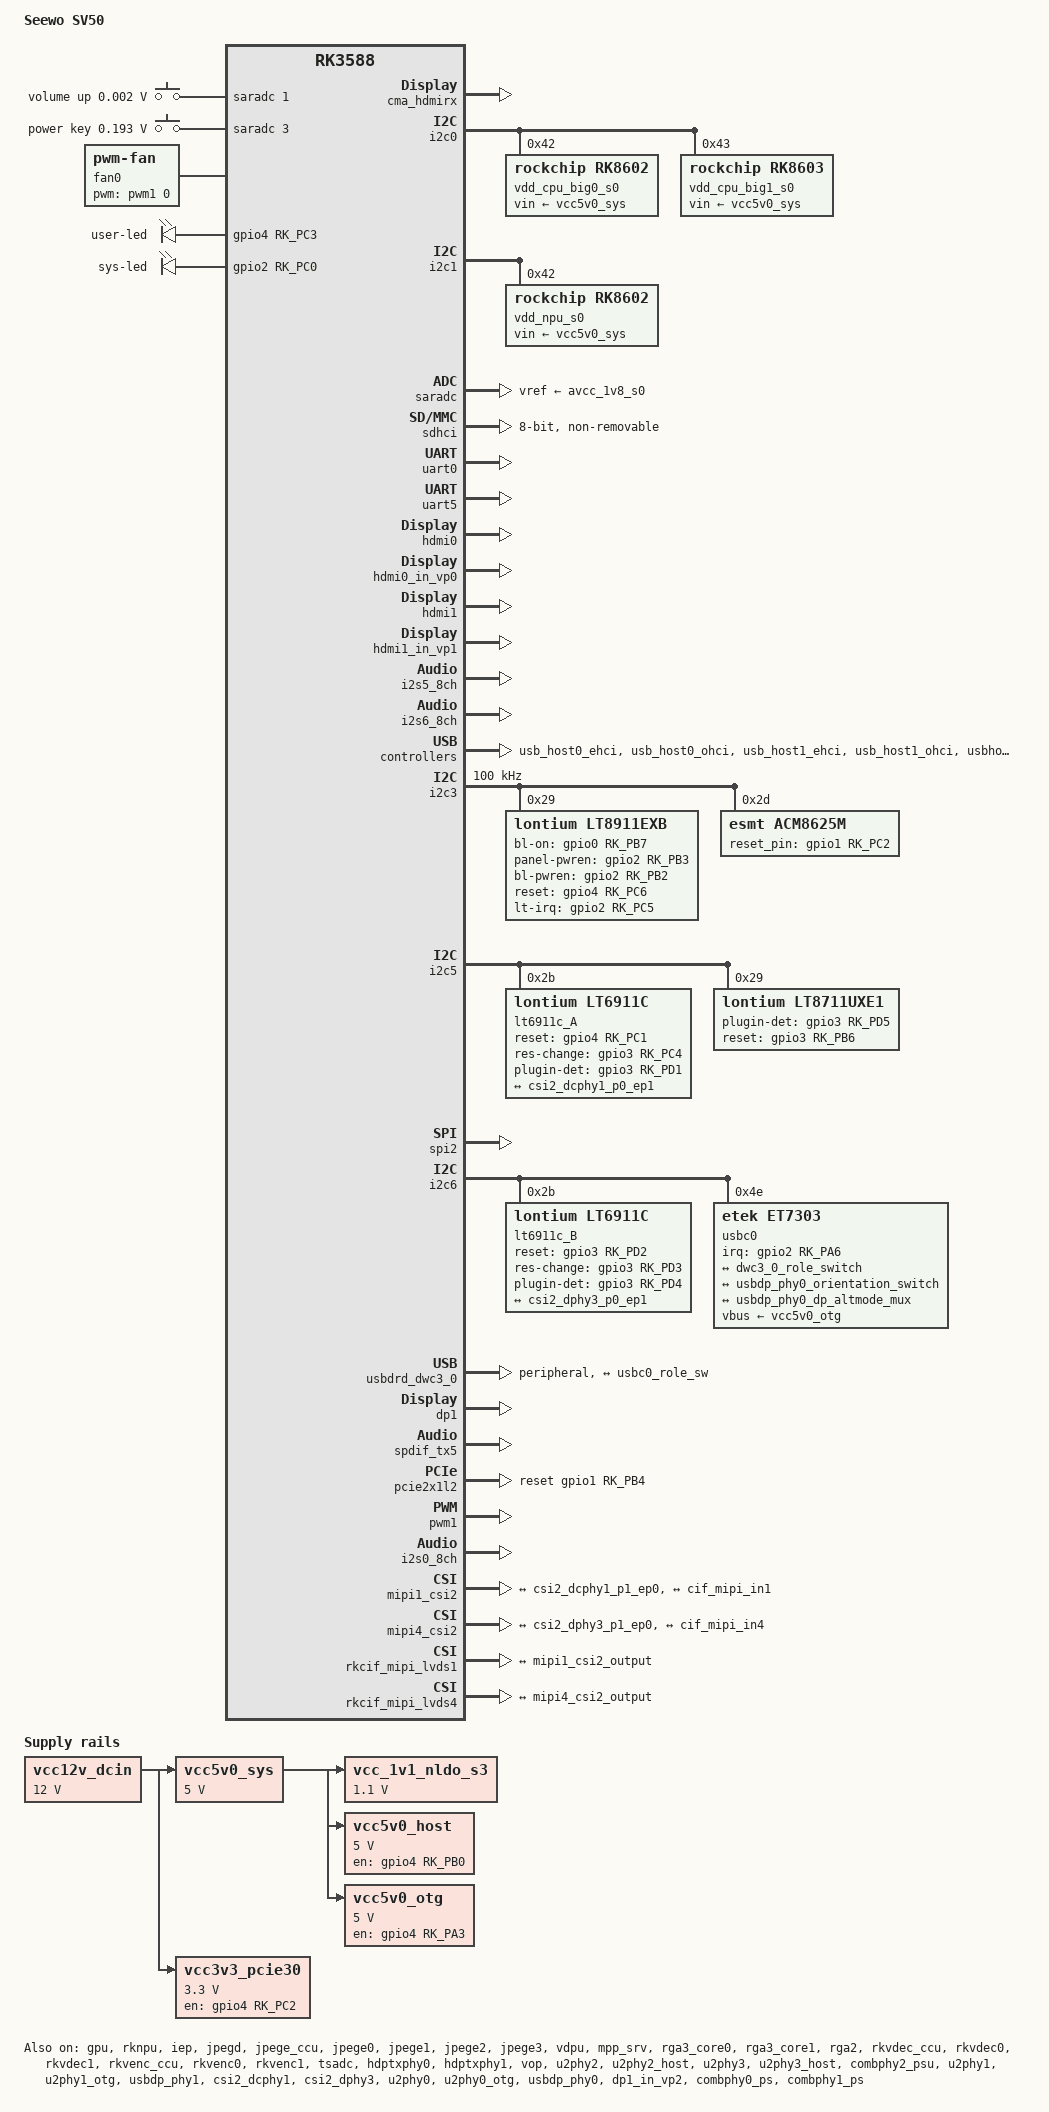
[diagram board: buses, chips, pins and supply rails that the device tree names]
// SPDX-License-Identifier: (GPL-2.0+ OR MIT)
/*
 * Copyright (c) 2024 Rockchip Electronics Co., Ltd.
 * Copyright (c) 2024 Radxa Computer (Shenzhen) Co., Ltd.
 * Copyright (c) 2026 ColtPlus
 */

/dts-v1/;

#include <dt-bindings/gpio/gpio.h>
#include <dt-bindings/leds/common.h>
#include <dt-bindings/pwm/pwm.h>
#include <dt-bindings/pinctrl/rockchip.h>
#include <dt-bindings/input/rk-input.h>
#include <dt-bindings/display/drm_mipi_dsi.h>
#include <dt-bindings/display/rockchip_vop.h>
#include <dt-bindings/sensor-dev.h>
#include "dt-bindings/usb/pd.h"
#include "rk3588.dtsi"
#include "rk3588-rk806-single.dtsi"
#include "rk3588-linux.dtsi"

/ {
	model = "Seewo SV50";
	compatible = "seewo,sv50", "rockchip,rk3588";

	/delete-node/ chosen;

	aliases {
		mmc0 = &sdmmc;
		mmc1 = &sdhci;
		mmc2 = &sdio;
	};

	adc_keys: adc-keys {
		compatible = "adc-keys";
		io-channels = <&saradc 1>;
		io-channel-names = "buttons";
		keyup-threshold-microvolt = <1800000>;
		poll-interval = <100>;

		vol-up-key {
			label = "volume up";
			linux,code = <KEY_VOLUMEUP>;
			press-threshold-microvolt = <1750>; 
		};
	};

	adc_power_keys: adc-power-keys {
		compatible = "adc-keys";
		io-channels = <&saradc 3>;
		io-channel-names = "buttons";
		keyup-threshold-microvolt = <1800000>;
		poll-interval = <100>;

		adc-power-key {
			label = "power key";
			linux,code = <KEY_POWER>;
			press-threshold-microvolt = <192920>;
			wakeup-source;
		};
	};

	fan0: pwm-fan {
		compatible = "pwm-fan";
		cooling-levels = <0 120 150 180 210 240 255>;
		pwms = <&pwm1 0 50000 0>;
		#cooling-cells = <2>;
	};

	vcc12v_dcin: vcc12v-dcin {
		compatible = "regulator-fixed";
		regulator-name = "vcc12v_dcin";
		regulator-always-on;
		regulator-boot-on;
		regulator-min-microvolt = <12000000>;
		regulator-max-microvolt = <12000000>;
	};

	vcc5v0_sys: vcc5v0-sys {
		compatible = "regulator-fixed";
		regulator-name = "vcc5v0_sys";
		regulator-always-on;
		regulator-boot-on;
		regulator-min-microvolt = <5000000>;
		regulator-max-microvolt = <5000000>;
		vin-supply = <&vcc12v_dcin>;
	};

	vcc_1v1_nldo_s3: regulator-vcc-1v1-nldo-s3 {
		compatible = "regulator-fixed";
		regulator-name = "vcc_1v1_nldo_s3";
		regulator-always-on;
		regulator-boot-on;
		regulator-min-microvolt = <1100000>;
		regulator-max-microvolt = <1100000>;
		vin-supply = <&vcc5v0_sys>;
	};

	hdmi0_sound: hdmi0-sound {
		status = "okay";
		compatible = "rockchip,hdmi";
		rockchip,mclk-fs = <128>;
		rockchip,card-name = "rockchip,hdmi0";
		rockchip,cpu = <&i2s5_8ch>;
		rockchip,codec = <&hdmi0>;
		rockchip,jack-det;
	};

	hdmi1_sound: hdmi1-sound {
		status = "okay";
		compatible = "rockchip,hdmi";
		rockchip,mclk-fs = <128>;
		rockchip,card-name = "rockchip,hdmi1";
		rockchip,cpu = <&i2s6_8ch>;
		rockchip,codec = <&hdmi1>;
		rockchip,jack-det;
	};

	dp1_sound: dp1-sound {
		status = "okay";
		compatible = "rockchip,hdmi";
		rockchip,card-name= "rockchip,dp1";
		rockchip,mclk-fs = <512>;
		rockchip,cpu = <&spdif_tx5>;
		rockchip,codec = <&dp1 1>;
		rockchip,jack-det;
	};

	acm8625m_sound: i2s0-sound {
		compatible = "simple-audio-card";
		simple-audio-card,format = "i2s";
		simple-audio-card,name = "rockchip,acm8625m";
		simple-audio-card,mclk-fs = <256>;

		simple-audio-card,cpu {
			sound-dai = <&i2s0_8ch>;
		};
		simple-audio-card,codec {
			sound-dai = <&acm8625m>;
		};
	};

	vcc3v3_pcie30: regulator-vcc3v3-pcie30 {
		compatible = "regulator-fixed";
		enable-active-high;
		gpios = <&gpio4 RK_PC2 GPIO_ACTIVE_HIGH>;
		pinctrl-names = "default";
		pinctrl-0 = <&pcie3_vcc3v3_en>;
		regulator-name = "vcc3v3_pcie30";
		regulator-min-microvolt = <3300000>;
		regulator-max-microvolt = <3300000>;
		startup-delay-us = <7500>;
		vin-supply = <&vcc12v_dcin>;
	};

	vcc5v0_host: vcc5v0-host-regulator {
		compatible = "regulator-fixed";
		regulator-name = "vcc5v0_host";
		regulator-boot-on;
		regulator-always-on;
		regulator-min-microvolt = <5000000>;
		regulator-max-microvolt = <5000000>;
		vin-supply = <&vcc5v0_sys>;
		enable-active-high;
		gpio = <&gpio4 RK_PB0 GPIO_ACTIVE_HIGH>;
		pinctrl-names = "default";
		pinctrl-0 = <&vcc5v0_host_en>;
	};

	vcc5v0_otg: vcc5v0-otg-regulator {
		compatible = "regulator-fixed";
		regulator-name = "vcc5v0_otg";
		regulator-min-microvolt = <5000000>;
		regulator-max-microvolt = <5000000>;
		enable-active-high;
		gpio = <&gpio4 RK_PA3 GPIO_ACTIVE_HIGH>;
		vin-supply = <&vcc5v0_sys>;
		pinctrl-names = "default";
		pinctrl-0 = <&vcc5v0_otg_en>;
	};

	reserved_memory: reserved-memory {
		#address-cells = <2>;
		#size-cells = <2>;
		ranges;

		cma {
			compatible = "shared-dma-pool";
			reusable;
			reg = <0x0 (256 * 0x100000) 0x0 (256 * 0x100000)>;
			linux,cma-default;
		};

		/* Reserved 128MB memory for hdmirx-controller@fdee0000
		 * disable the node if hdmirx is disabled
		 */
		cma_hdmirx: cma-hdmirx {
			compatible = "shared-dma-pool";
			reg = <0x0 (512 * 0x100000) 0x0 (128 * 0x100000)>;
			reusable;
		};
	};

	gpio-leds {
		compatible = "gpio-leds";
		pinctrl-names = "default";

		user-led {
			gpios = <&gpio4 RK_PC3 GPIO_ACTIVE_HIGH>;
			linux,default-trigger = "heartbeat";
			default-state = "on";
		};

		sys-led {
			gpios = <&gpio2 RK_PC0 GPIO_ACTIVE_HIGH>;
			linux,default-trigger = "boot";
		};
	};
};

&cpu_l0 {
	cpu-supply = <&vdd_cpu_lit_s0>;
	mem-supply = <&vdd_cpu_lit_mem_s0>;
};

&cpu_b0 {
	cpu-supply = <&vdd_cpu_big0_s0>;
	mem-supply = <&vdd_cpu_big0_mem_s0>;
};

&cpu_b2 {
	cpu-supply = <&vdd_cpu_big1_s0>;
	mem-supply = <&vdd_cpu_big1_mem_s0>;
};

&gpu {
	mali-supply = <&vdd_gpu_s0>;
	mem-supply = <&vdd_gpu_mem_s0>;
	upthreshold = <30>;
	downdifferential = <10>;
	status = "okay";
};

&rknpu {
	rknpu-supply = <&vdd_npu_s0>;
	mem-supply = <&vdd_npu_mem_s0>;
	status = "okay";
};

&rknpu_mmu {
	status = "okay";
};

&i2c0 {
	status = "okay";
	pinctrl-names = "default";
	pinctrl-0 = <&i2c0m2_xfer>;

	vdd_cpu_big0_s0: vdd_cpu_big0_mem_s0: rk8602@42 {
		compatible = "rockchip,rk8602";
		reg = <0x42>;
		vin-supply = <&vcc5v0_sys>;
		regulator-compatible = "rk860x-reg";
		regulator-name = "vdd_cpu_big0_s0";
		regulator-min-microvolt = <550000>;
		regulator-max-microvolt = <1050000>;
		regulator-ramp-delay = <2300>;
		rockchip,suspend-voltage-selector = <1>;
		regulator-boot-on;
		regulator-always-on;
		regulator-state-mem {
			regulator-off-in-suspend;
		};
	};

	vdd_cpu_big1_s0: vdd_cpu_big1_mem_s0: rk8603@43 {
		compatible = "rockchip,rk8603";
		reg = <0x43>;
		vin-supply = <&vcc5v0_sys>;
		regulator-compatible = "rk860x-reg";
		regulator-name = "vdd_cpu_big1_s0";
		regulator-min-microvolt = <550000>;
		regulator-max-microvolt = <1050000>;
		regulator-ramp-delay = <2300>;
		rockchip,suspend-voltage-selector = <1>;
		regulator-boot-on;
		regulator-always-on;
		regulator-state-mem {
			regulator-off-in-suspend;
		};
	};
};

&i2c1 {
	status = "okay";
	pinctrl-names = "default";
	pinctrl-0 = <&i2c1m2_xfer>;

	vdd_npu_s0: vdd_npu_mem_s0: rk8602@42 {
		compatible = "rockchip,rk8602";
		reg = <0x42>;
		vin-supply = <&vcc5v0_sys>;
		regulator-compatible = "rk860x-reg";
		regulator-name = "vdd_npu_s0";
		regulator-min-microvolt = <550000>;
		regulator-max-microvolt = <950000>;
		regulator-ramp-delay = <2300>;
		rockchip,suspend-voltage-selector = <1>;
		regulator-boot-on;
		regulator-always-on;
		regulator-state-mem {
			regulator-off-in-suspend;
		};
	};
};

&iep {
	status = "okay";
};

&iep_mmu {
	status = "okay";
};

&jpegd {
	status = "okay";
};

&jpegd_mmu {
	status = "okay";
};

&jpege_ccu {
	status = "okay";
};

&jpege0 {
	status = "okay";
};

&jpege0_mmu {
	status = "okay";
};

&jpege1 {
	status = "okay";
};

&jpege1_mmu {
	status = "okay";
};

&jpege2 {
	status = "okay";
};

&jpege2_mmu {
	status = "okay";
};

&jpege3 {
	status = "okay";
};

&jpege3_mmu {
	status = "okay";
};

&vdpu {
	status = "okay";
};

&vdpu_mmu {
	status = "okay";
};

&mpp_srv {
	status = "okay";
};

&rga3_core0 {
	status = "okay";
};

&rga3_0_mmu {
	status = "okay";
};

&rga3_core1 {
	status = "okay";
};

&rga3_1_mmu {
	status = "okay";
};

&rga2 {
	status = "okay";
};

&rkvdec_ccu {
	status = "okay";
};

&rkvdec0 {
	status = "okay";
};

&rkvdec0_mmu {
	status = "okay";
};

&rkvdec1 {
	status = "okay";
};

&rkvdec1_mmu {
	status = "okay";
};

&rkvenc_ccu {
	status = "okay";
};

&rkvenc0 {
	status = "okay";
};

&rkvenc0_mmu {
	status = "okay";
};

&rkvenc1 {
	status = "okay";
};

&rkvenc1_mmu {
	status = "okay";
};

&saradc {
	status = "okay";
	vref-supply = <&avcc_1v8_s0>;
};

&sdhci {
	bus-width = <8>;
	no-sdio;
	no-sd;
	non-removable;
	mmc-hs400-1_8v;
	mmc-hs400-enhanced-strobe;
	status = "okay";
};

&soc_thermal {
	polling-delay = <1000>;
	polling-delay-passive = <2000>;
	trips {
		trip0: trip-point@0 {
			temperature = <45000>;
			hysteresis = <5000>;
			type = "active";
		};
		trip1: trip-point@1 {
			temperature = <50000>;
			hysteresis = <5000>;
			type = "active";
		};
		trip2: trip-point@2 {
			temperature = <55000>;
			hysteresis = <5000>;
			type = "active";
		};
		trip3: trip-point@3 {
			temperature = <60000>;
			hysteresis = <5000>;
			type = "active";
		};
		trip4: trip-point@4 {
			temperature = <65000>;
			hysteresis = <5000>;
			type = "active";
		};
		trip5: trip-point@5 {
			temperature = <70000>;
			hysteresis = <5000>;
			type = "active";
		};
		trip6: trip-point@6 {
			temperature = <75000>;
			hysteresis = <5000>;
			type = "active";
		};
		pcritical: trip-point@7 {
			temperature = <80000>;
			hysteresis = <1000>;
			type = "active";
		};
	};
	cooling-maps {
		map0 {
			trip = <&trip0>;
			cooling-device = <&fan0 0 1>;
			contribution = <1024>;
		};
		map1 {
			trip = <&trip1>;
			cooling-device = <&fan0 1 2>;
			contribution = <1024>;
		};
		map2 {
			trip = <&trip2>;
			cooling-device = <&fan0 2 3>;
			contribution = <1024>;
		};
		map3 {
			trip = <&trip3>;
			cooling-device = <&fan0 3 4>;
			contribution = <1024>;
		};
		map4 {
			trip = <&trip4>;
			cooling-device = <&fan0 4 5>;
			contribution = <1024>;
		};
		map5 {
			trip = <&trip5>;
			cooling-device = <&fan0 5 6>;
			contribution = <1024>;
		};
		map6 {
			trip = <&trip6>;
			cooling-device = <&fan0 6 7>;
			contribution = <1024>;
		};
		map7 {
			trip = <&pcritical>;
			cooling-device = <&fan0 7 8>;
			contribution = <1024>;
		};
	};
};

&uart0 {
	pinctrl-0 = <&uart0m0_xfer>;
	status = "okay";
};

&uart5 {
	pinctrl-0 = <&uart5m0_xfer>;
	status = "okay";
};

&tsadc {
	status = "okay";
};

&display_subsystem {
	clocks = <&hdptxphy0>, <&hdptxphy1>;
	clock-names = "hdmi0_phy_pll", "hdmi1_phy_pll";
};

&hdptxphy0 {
	status = "okay";
};

&hdptxphy1 {
	status = "okay";
};

&hdmi0 {
	pinctrl-0 = <&hdmim0_tx0_hpd &hdmim0_tx0_scl &hdmim0_tx0_sda>;
	status = "okay";
	enable-gpios = <&gpio4 RK_PB1 GPIO_ACTIVE_HIGH>;
};

&hdmi0_in_vp0 {
	status = "okay";
};

&hdmi0_sound {
	status = "okay";
};

&hdmi1 {
	status = "okay";
	pinctrl-names = "default";
	pinctrl-0 = <&hdmim0_tx1_hpd &hdmim1_tx1_scl &hdmim1_tx1_sda>;
	enable-gpios = <&gpio4 RK_PB2 GPIO_ACTIVE_HIGH>;
};

&hdmi1_in_vp1 {
	status = "okay";
};

&hdmi1_sound {
	status = "okay";
};

&hdptxphy0 {
	status = "okay";
};

&hdptxphy1 {
	status = "okay";
};

&i2s5_8ch {
	rockchip,playback-only;
	status = "okay";
};

&i2s6_8ch {
	rockchip,playback-only;
	status = "okay";
};

&vop {
	status = "okay";
};

&vop_mmu {
	status = "okay";
};

&vdpu {
	status = "okay";
};

&vp0 {
	vp0_out_hdmi0: endpoint@2 {
		reg = <2>;
		remote-endpoint = <&hdmi0_in_vp0>;
	};
};

&vp1 {
	vp1_out_hdmi1: endpoint@5 {
		reg = <5>;
		remote-endpoint = <&hdmi1_in_vp1>;
	};
};

&vp2 {
	vp2_out_dp1: endpoint@5 {
		reg = <5>;
		remote-endpoint = <&dp1_in_vp2>;
	};
};

&u2phy2 {
	status = "okay";
};

&u2phy2_host {
	phy-supply = <&vcc5v0_host>;
	status = "okay";
};

&u2phy3 {
	status = "okay";
};

&u2phy3_host {
	phy-supply = <&vcc5v0_host>;
	status = "okay";
};

&usb_host0_ehci {
	status = "okay";
};

&usb_host0_ohci {
	status = "okay";
};

&usb_host1_ehci {
	status = "okay";
};

&usb_host1_ohci {
	status = "okay";
};

&usbhost3_0 {
	status = "okay";
};

&usbhost_dwc3_0 {
	status = "okay";
};

&combphy2_psu {
	status = "okay";
};

&u2phy1 {
	status = "okay";
};

&u2phy1_otg {
	phy-supply = <&vcc5v0_host>;
	status = "okay";
};

&usbdrd3_1{
	status = "okay";
};

&usbdrd_dwc3_1{
	status = "okay";
};

&usbdp_phy1 {
	rockchip,dp-lane-mux = <2 3>;
	status = "okay";
};



&i2c3 {
	pinctrl-names = "default";
	pinctrl-0 = <&i2c3m0_xfer>;
	clock-frequency = <100000>;
	status = "okay";
	
	lt8911exb: lt8911exb@29 {
		compatible = "lontium,lt8911exb";
		reg = <0x29>;
		bl-on-gpios = <&gpio0 RK_PB7 GPIO_ACTIVE_HIGH>;
		panel-pwren-gpios = <&gpio2 RK_PB3 GPIO_ACTIVE_HIGH>;
		bl-pwren-gpios = <&gpio2 RK_PB2 GPIO_ACTIVE_HIGH>;
		reset-gpios = <&gpio4 RK_PC6 GPIO_ACTIVE_HIGH>;
		lt-irq-gpios = <&gpio2 RK_PC5 GPIO_ACTIVE_HIGH>;
		status = "okay";
	};

	acm8625m: acm8625m@2d {
		status = "okay";
		compatible = "esmt,acm8625m";
		reg = <0x2d>;
		#sound-dai-cells = <0>;
		reset_pin = <&gpio1 RK_PC2 GPIO_ACTIVE_HIGH>;
		no_mclk;
	};

	ilitek@41 {
		status = "disabled";
		compatible = "tchip,ilitek";
		reg = <0x41>;
		ilitek,name = "ilitek_i2c";
	};
};

&csi2_dcphy1 {
	status = "okay";

	ports {
		#address-cells = <1>;
		#size-cells = <0>;

		port@0 {
			reg = <0>;
			#address-cells = <1>;
			#size-cells = <0>;

			csi2_dcphy1_p0_ep1: endpoint@1 {
				reg = <1>;
				remote-endpoint = <&lt6911c_A_ep>;
				data-lanes = <1 2 3 4>;
			};
		};

		port@1 {
			reg = <1>;
			#address-cells = <1>;
			#size-cells = <0>;

			csi2_dcphy1_p1_ep0: endpoint@0 {
				reg = <0>;
				remote-endpoint = <&mipi1_csi2_input>;
			};
		};
	};
};

&i2c5 {
	#address-cells = <1>;
	#size-cells = <0>;
	pinctrl-names = "default";
	pinctrl-0 = <&i2c5m0_xfer>;
	status = "okay";

	lt6911c_A: lt6911c_A@2b {
		status = "okay";
		compatible = "lontium,lt6911c";
		reg = <0x2b>;
		clocks = <&cru CLK_MIPI_CAMARAOUT_M2>;
		clock-names = "xvclk";
		reset-gpios = <&gpio4 RK_PC1 GPIO_ACTIVE_HIGH>;
		res-change-gpios = <&gpio3 RK_PC4 GPIO_ACTIVE_HIGH>;
		plugin-det-gpios = <&gpio3 RK_PD1 GPIO_ACTIVE_HIGH>;
		rockchip,camera-module-index = <0>;
		rockchip,camera-module-facing = "back";
		rockchip,camera-module-name = "lt6911c_A";
		rockchip,camera-module-lens-name = "NC";
		cvte,hdmi-port-name = "HDMIIN1";

		port {

			lt6911c_A_ep: endpoint {
				remote-endpoint = <&csi2_dcphy1_p0_ep1>;
				data-lanes = <1 2 3 4>;
			};
		};
	};

	lt8711uxe1: lt8711uxe1@29 {
		status = "okay";
		compatible = "lontium,lt8711uxe1";
		reg = <0x29>;
		plugin-det-gpios = <&gpio3 RK_PD5 GPIO_ACTIVE_HIGH>;
		reset-gpios = <&gpio3 RK_PB6 GPIO_ACTIVE_HIGH>;
	};
};

&spi2 {
	status = "okay";
};

&csi2_dphy3 {
	status = "okay";

	ports {
		#address-cells = <1>;
		#size-cells = <0>;

		port@0 {
			reg = <0>;
			#address-cells = <1>;
			#size-cells = <0>;

			csi2_dphy3_p0_ep1: endpoint@1 {
				reg = <1>;
				remote-endpoint = <&lt6911c_B_ep>;
				data-lanes = <1 2 3 4>;
			};
		};

		port@1 {
			reg = <1>;
			#address-cells = <1>;
			#size-cells = <0>;

			csi2_dphy3_p1_ep0: endpoint@0 {
				reg = <0>;
				remote-endpoint = <&mipi4_csi2_input>;
			};
		};
	};
};

&i2c6 {
	pinctrl-names = "default";
	pinctrl-0 = <&i2c6m0_xfer>;
	status = "okay";

	lt6911c_B: lt6911c_B@2b {
		status = "okay";
		compatible = "lontium,lt6911c";
		reg = <0x2b>;
		clocks = <&cru CLK_MIPI_CAMARAOUT_M4>;
		clock-names = "xvclk";
		reset-gpios = <&gpio3 RK_PD2 GPIO_ACTIVE_HIGH>;
		res-change-gpios = <&gpio3 RK_PD3 GPIO_ACTIVE_HIGH>;
		plugin-det-gpios = <&gpio3 RK_PD4 GPIO_ACTIVE_HIGH>;
		rockchip,camera-module-index = <1>;
		rockchip,camera-module-facing = "back";
		rockchip,camera-module-name = "lt6911c_B";
		rockchip,camera-module-lens-name = "NC";
		cvte,hdmi-port-name = "HDMIIN2";
		
		port {

			lt6911c_B_ep: endpoint {
				remote-endpoint = <&csi2_dphy3_p0_ep1>;
				data-lanes = <1 2 3 4>;
			};
		};
	};

	usbc0: et7304@4e {
		compatible = "etek,et7303";
		reg = <0x4e>;
		interrupt-parent = <&gpio2>;
		interrupts = <RK_PA6 IRQ_TYPE_LEVEL_LOW>;
		pinctrl-names = "default";
		pinctrl-0 = <&usbc0_int>;
		vbus-supply = <&vcc5v0_otg>;
		status = "okay";

		ports {
			#address-cells = <1>;
			#size-cells = <0>;

			port@0 {
				reg = <0>;
				usbc0_role_sw: endpoint@0 {
					remote-endpoint = <&dwc3_0_role_switch>;
				};
			};
		};

		usb_con: connector {
			compatible = "usb-c-connector";
			label = "USB-C";
			data-role = "dual";
			power-role = "dual";
			try-power-role = "sink";
			op-sink-microwatt = <1000000>;
			sink-pdos = <PDO_FIXED(5000, 100, PDO_FIXED_USB_COMM)>;
			source-pdos = <PDO_FIXED(5000, 3000, PDO_FIXED_USB_COMM)>;

			altmodes {
				#address-cells = <1>;
				#size-cells = <0>;

				altmode@0 {
					reg = <0>;
					svid = <0xff01>;
					vdo = <0xffffffff>;
				};
			};

			ports {
				#address-cells = <1>;
				#size-cells = <0>;

				port@0 {
					reg = <0>;
					usbc0_orien_sw: endpoint {
						remote-endpoint = <&usbdp_phy0_orientation_switch>;
					};
				};

				port@1 {
					reg = <1>;
					dp_altmode_mux: endpoint {
						remote-endpoint = <&usbdp_phy0_dp_altmode_mux>;
					};
				};
			};
		};
	};
};

&u2phy0 {
	status = "okay";
};

&u2phy0_otg {
	vbus-supply = <&vcc5v0_otg>;
	rockchip,typec-vbus-det;
	rockchip,dis-u2-susphy;
	status = "okay";
};

&usbdrd3_0 {
	status = "okay";
};

&usbdrd_dwc3_0 {
	dr_mode = "peripheral";
	tx-fifo-resize;
	status = "okay";

	port {
		#address-cells = <1>;
		#size-cells = <0>;
		
		dwc3_0_role_switch: endpoint@0 {
			reg = <0>;
			remote-endpoint = <&usbc0_role_sw>;
		};
	};
};

&usbdp_phy0 {
	status = "okay";
	orientation-switch;
	mode-switch;
	svid = <0xff01>;
	sbu1-dc-gpios = <&gpio0 RK_PC6 GPIO_ACTIVE_HIGH>;
	sbu2-dc-gpios = <&gpio0 RK_PD3 GPIO_ACTIVE_HIGH>;

	port {
		#address-cells = <1>;
		#size-cells = <0>;
		usbdp_phy0_orientation_switch: endpoint@0 {
			reg = <0>;
			remote-endpoint = <&usbc0_orien_sw>;
		};

		usbdp_phy0_dp_altmode_mux: endpoint@1 {
			reg = <1>;
			remote-endpoint = <&dp_altmode_mux>;
		};
	};
};



&dp1 {
	status = "okay";
	pinctrl-0 = <&dp1m0_pins>;
	pinctrl-names = "default";
	nvr-mode;
};

&dp1_in_vp2 {
	status = "okay";
};

&spdif_tx5 {
	status = "okay";
};

&combphy0_ps {
	status = "okay";
};

&pcie2x1l2 {
	reset-gpios = <&gpio1 RK_PB4 GPIO_ACTIVE_HIGH>;
	status = "okay";
};

&combphy1_ps {
	status = "okay";
};

&pcie30phy {
	status = "okay";
};

&pcie3x4 {
	reset-gpios = <&gpio1 RK_PB2 GPIO_ACTIVE_HIGH>;
	vpcie3v3-supply = <&vcc3v3_pcie30>;
	status = "disabled";
};

&pwm1 {
	status = "okay";
};

&i2s0_8ch {
	pinctrl-names = "default";
	pinctrl-0 = <&i2s0_lrck
		     &i2s0_sclk
		     &i2s0_sdo0>;
	status = "okay";
};

&rockchip_suspend {
	compatible = "rockchip,pm-rk3588";
	status = "okay";
	rockchip,sleep-debug-en = <1>;
	rockchip,sleep-mode-config = <
		(0
		| RKPM_SLP_ARMOFF_DDRPD
		)
	>;
	rockchip,wakeup-config = <
		(0
		| RKPM_GPIO_WKUP_EN
		| RKPM_USB_WKUP_EN
		)
	>;
};

&avcc_1v8_s0 {
	regulator-state-mem {
		regulator-on-in-suspend;
		regulator-suspend-microvolt = <1800000>;
	};
};

&vdd_log_s0 {
	regulator-state-mem {
		regulator-on-in-suspend;
	};
};

&pinctrl {
	usb {
		vcc5v0_host_en: vcc5v0-host-en {
			rockchip,pins = <4 RK_PB0 RK_FUNC_GPIO &pcfg_pull_none>;
			};

		vcc5v0_otg_en: vcc5v0-otg-en {
			rockchip,pins = <4 RK_PA3 RK_FUNC_GPIO &pcfg_pull_none>;
		};

		usbc0_int: usbc0-int {
			rockchip,pins = <2 RK_PA6 RK_FUNC_GPIO &pcfg_pull_up>;
		};
	};

	sata {
		sata1_pm_rst: sata1-pm-rst {
			rockchip,pins = <4 RK_PB6 RK_FUNC_GPIO &pcfg_pull_none>;
		};
	};

	pcie {
		pcie3_vcc3v3_en: pcie3-vcc3v3-en {
			rockchip,pins = <4 RK_PC2 RK_FUNC_GPIO &pcfg_pull_none>;
		};
	};
};

&mipi1_csi2 {
	status = "okay";

	ports {
		#address-cells = <1>;
		#size-cells = <0>;

		port@0 {
			reg = <0>;
			#address-cells = <1>;
			#size-cells = <0>;

			mipi1_csi2_input: endpoint@1 {
				reg = <1>;
				remote-endpoint = <&csi2_dcphy1_p1_ep0>;
			};
		};

		port@1 {
			reg = <1>;
			#address-cells = <1>;
			#size-cells = <0>;

			mipi1_csi2_output: endpoint@0 {
				reg = <0>;
				remote-endpoint = <&cif_mipi_in1>;
			};
		};
	};
};

&mipi4_csi2 {
	status = "okay";

	ports {
		#address-cells = <1>;
		#size-cells = <0>;

		port@0 {
			reg = <0>;
			#address-cells = <1>;
			#size-cells = <0>;

			mipi4_csi2_input: endpoint@1 {
				reg = <1>;
				remote-endpoint = <&csi2_dphy3_p1_ep0>;
			};
		};

		port@1 {
			reg = <1>;
			#address-cells = <1>;
			#size-cells = <0>;

			mipi4_csi2_output: endpoint@0 {
				reg = <0>;
				remote-endpoint = <&cif_mipi_in4>;
			};
		};
	};
};

&rkcif_mipi_lvds1 {
	status = "okay";

	port {
		cif_mipi_in1: endpoint {
			remote-endpoint = <&mipi1_csi2_output>;
		};
	};
};

&rkcif_mipi_lvds4 {
	status = "okay";

	port {
		cif_mipi_in4: endpoint {
			remote-endpoint = <&mipi4_csi2_output>;
		};
	};
};


&usbdp_phy0 {
	status = "okay";
};

&usbdp_phy1 {
	status = "okay";
};
